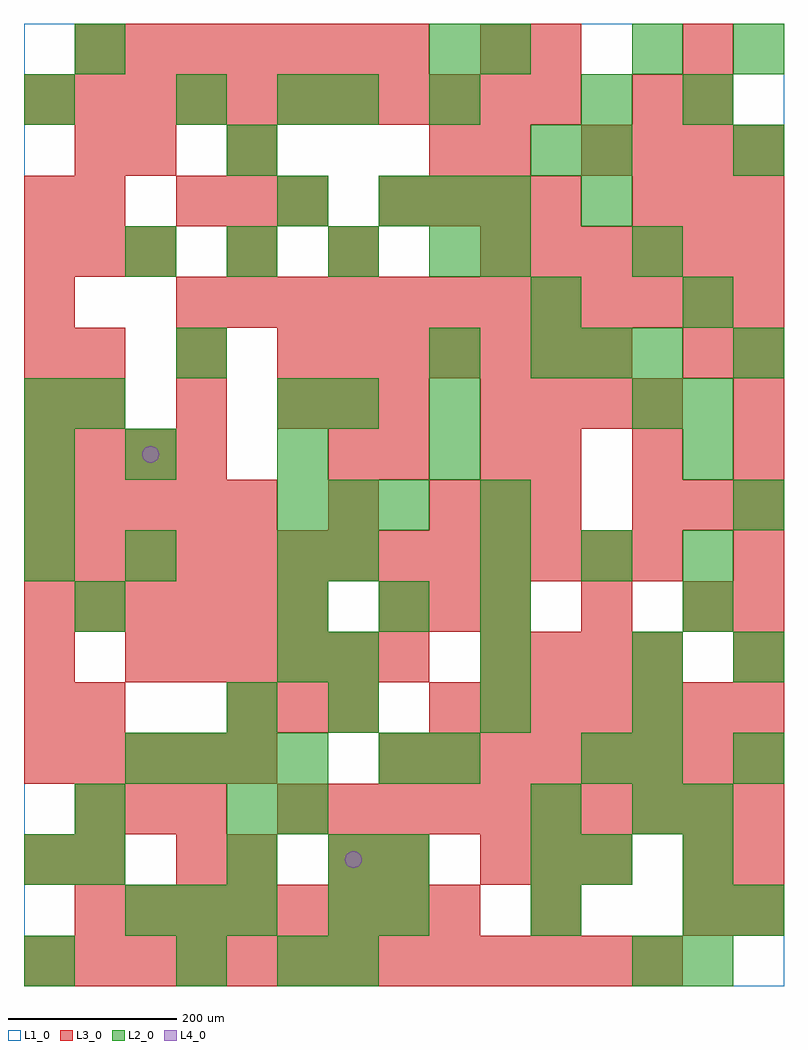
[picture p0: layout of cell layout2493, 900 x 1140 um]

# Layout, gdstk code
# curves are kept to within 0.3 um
import gdstk
lib = gdstk.Library(unit=1e-6, precision=1e-09)
def R(c, l, rs):  # rectangles x0, y0, x1, y1
    for r in rs: c.add(gdstk.rectangle(r[:2], r[2:], *l))
def A(c, l, x, y, w, h, nx, ny, dx, dy):  # array of equal rectangles
    R(c, l, [(x+i*dx, y+j*dy, x+i*dx+w, y+j*dy+h) for i in range(nx) for j in range(ny)])
def P(c, l, *ps):  # polygons
    for p in ps: c.add(gdstk.Polygon(p, *l))
L1_0 = (1, 0)
L2_0 = (2, 0)
L3_0 = (3, 0)
L4_0 = (4, 0)

layout2493 = lib.new_cell('layout2493')
R(layout2493, L1_0, [(0,0,900,1140)])
A(layout2493, L2_0, 300, 0, 60, 60, 1, 3, 0, 180)
A(layout2493, L2_0, 360, 0, 60, 60, 1, 3, 0, 60)
A(layout2493, L2_0, 120, 60, 60, 60, 3, 1, 60, 0)
A(layout2493, L2_0, 420, 60, 60, 60, 3, 1, 180, 0)
A(layout2493, L2_0, 60, 180, 60, 60, 1, 3, 0, 240)
A(layout2493, L2_0, 120, 240, 60, 60, 4, 1, 60, 0)
A(layout2493, L2_0, 360, 300, 60, 60, 3, 2, 180, 60)
A(layout2493, L2_0, 840, 360, 60, 60, 1, 3, 0, 180)
A(layout2493, L2_0, 300, 420, 60, 60, 3, 1, 120, 0)
A(layout2493, L2_0, 0, 480, 60, 60, 1, 4, 0, 60)
A(layout2493, L2_0, 540, 480, 60, 60, 3, 1, 120, 0)
A(layout2493, L2_0, 300, 540, 60, 60, 3, 1, 60, 0)
A(layout2493, L2_0, 120, 600, 60, 60, 3, 1, 180, 0)
A(layout2493, L2_0, 600, 720, 60, 60, 3, 1, 60, 0)
A(layout2493, L2_0, 120, 840, 60, 60, 4, 1, 120, 0)
A(layout2493, L2_0, 420, 900, 60, 60, 3, 1, 60, 0)
A(layout2493, L2_0, 660, 900, 60, 60, 1, 3, 0, 60)
R(layout2493, L2_0, [(0,0,60,60), (180,0,240,60), (720,0,780,60), (780,0,840,60), (840,60,900,120), (0,120,60,180), (60,120,120,180), (240,120,300,180), (420,120,480,180), (600,120,660,180), (660,120,720,180), (780,120,840,180), (240,180,300,240), (600,180,660,240), (720,180,780,240), (780,180,840,240), (420,240,480,300), (480,240,540,300), (660,240,720,300), (720,240,780,300), (840,240,900,300), (240,300,300,360), (780,420,840,480), (120,480,180,540), (300,480,360,540), (360,480,420,540), (540,540,600,600), (780,600,840,660), (300,660,360,720), (360,660,420,720), (480,660,540,720), (720,660,780,720), (780,660,840,720), (180,720,240,780), (480,720,540,780), (600,780,660,840), (780,780,840,840), (540,840,600,900), (720,840,780,900), (300,900,360,960), (240,960,300,1020), (600,960,660,1020), (840,960,900,1020), (0,1020,60,1080), (180,1020,240,1080), (300,1020,360,1080), (360,1020,420,1080), (480,1020,540,1080), (780,1020,840,1080), (60,1080,120,1140), (480,1080,540,1140), (540,1080,600,1140), (720,1080,780,1140), (840,1080,900,1140)])
A(layout2493, L3_0, 0, 0, 60, 60, 13, 2, 60, 480)
A(layout2493, L3_0, 60, 60, 60, 60, 8, 1, 60, 0)
A(layout2493, L3_0, 540, 120, 60, 60, 3, 1, 60, 0)
A(layout2493, L3_0, 780, 120, 60, 60, 1, 4, 0, 300)
A(layout2493, L3_0, 60, 180, 60, 60, 3, 1, 60, 0)
A(layout2493, L3_0, 300, 180, 60, 60, 10, 1, 60, 0)
A(layout2493, L3_0, 0, 240, 60, 60, 5, 2, 60, 300)
A(layout2493, L3_0, 420, 240, 60, 60, 8, 1, 60, 0)
A(layout2493, L3_0, 240, 300, 60, 60, 3, 1, 60, 0)
A(layout2493, L3_0, 480, 300, 60, 60, 7, 1, 60, 0)
A(layout2493, L3_0, 120, 360, 60, 60, 6, 1, 60, 0)
A(layout2493, L3_0, 540, 360, 60, 60, 4, 2, 60, 300)
A(layout2493, L3_0, 840, 360, 60, 60, 1, 3, 0, 60)
A(layout2493, L3_0, 0, 420, 60, 60, 6, 1, 60, 0)
A(layout2493, L3_0, 420, 420, 60, 60, 3, 1, 60, 0)
A(layout2493, L3_0, 360, 540, 60, 60, 1, 3, 0, 60)
A(layout2493, L3_0, 480, 540, 60, 60, 3, 1, 60, 0)
A(layout2493, L3_0, 720, 540, 60, 60, 3, 2, 60, 360)
A(layout2493, L3_0, 0, 600, 60, 60, 4, 1, 60, 0)
A(layout2493, L3_0, 600, 600, 60, 60, 3, 1, 120, 0)
A(layout2493, L3_0, 0, 660, 60, 60, 1, 3, 0, 60)
A(layout2493, L3_0, 60, 660, 60, 60, 3, 2, 120, 60)
A(layout2493, L3_0, 360, 720, 60, 60, 6, 1, 60, 0)
A(layout2493, L3_0, 180, 780, 60, 60, 12, 1, 60, 0)
A(layout2493, L3_0, 0, 840, 60, 60, 3, 1, 60, 0)
A(layout2493, L3_0, 540, 840, 60, 60, 6, 1, 60, 0)
A(layout2493, L3_0, 180, 900, 60, 60, 3, 1, 60, 0)
A(layout2493, L3_0, 420, 900, 60, 60, 4, 1, 60, 0)
A(layout2493, L3_0, 660, 960, 60, 60, 4, 1, 60, 0)
A(layout2493, L3_0, 0, 1020, 60, 60, 11, 1, 60, 0)
A(layout2493, L3_0, 60, 1080, 60, 60, 7, 1, 60, 0)
R(layout2493, L3_0, [(600,60,660,120), (780,60,840,120), (840,60,900,120), (0,120,60,180), (60,120,120,180), (180,120,240,180), (240,120,300,180), (360,120,420,180), (420,120,480,180), (840,120,900,180), (0,300,60,360), (60,300,120,360), (0,360,60,420), (660,420,720,480), (420,600,480,660), (540,600,600,660), (420,660,480,720), (840,660,900,720), (840,720,900,780), (240,840,300,900), (360,840,420,900), (0,900,60,960), (60,900,120,960), (60,960,120,1020), (120,960,180,1020), (240,960,300,1020), (480,960,540,1020), (540,960,600,1020), (720,1020,780,1080), (540,1080,600,1140), (600,1080,660,1140), (780,1080,840,1140)])
P(layout2493, L4_0, [(160,630),(159.239,633.827),(157.071,637.071),(153.827,639.239),(150,640),(146.173,639.239),(142.929,637.071),(140.761,633.827),(140,630),(140.761,626.173),(142.929,622.929),(146.173,620.761),(150,620),(153.827,620.761),(157.071,622.929),(159.239,626.173)],
  [(400,150),(399.239,153.827),(397.071,157.071),(393.827,159.239),(390,160),(386.173,159.239),(382.929,157.071),(380.761,153.827),(380,150),(380.761,146.173),(382.929,142.929),(386.173,140.761),(390,140),(393.827,140.761),(397.071,142.929),(399.239,146.173)])

lib.write_gds('layout2493.gds')
